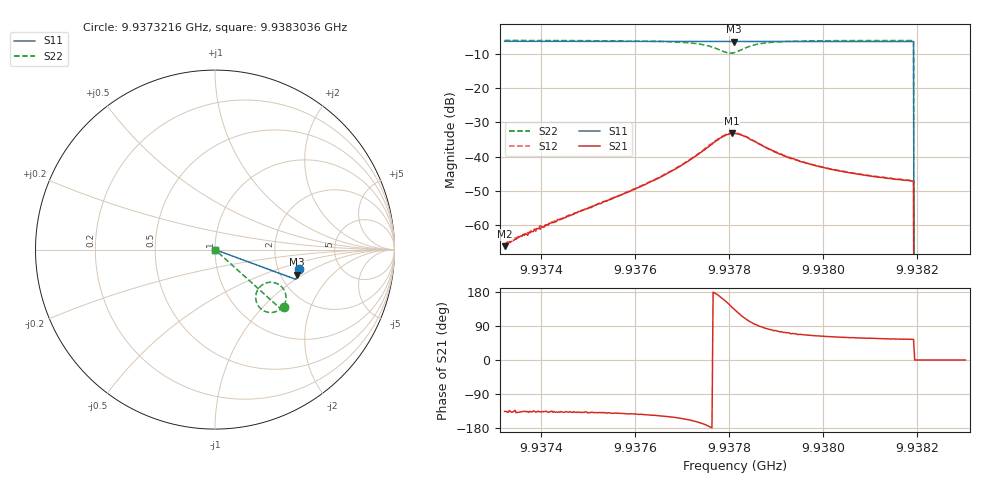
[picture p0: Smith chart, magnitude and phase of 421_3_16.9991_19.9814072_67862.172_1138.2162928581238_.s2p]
#  HZ  S  RI  R  50.00
! Rohde & Schwarz Vector Network Analyzer
! Rohde-Schwarz,ZNB20-2Port,1311601062101988,3.16
! Created: UTC 3/20/2024, 11:10:58 PM
! freq[Hz]  re:S11  im:S11  re:S21  im:S21  re:S12  im:S12  re:S22  im:S22
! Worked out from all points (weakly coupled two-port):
!   401 points, 9.9373216 GHz to 9.9383036 GHz, reference 50 ohm
!   highest |S21| = -33.18 dB at 9.9378052 GHz (marker M1); lowest = -66.1 dB at 9.9373216 GHz (marker M2)
!   lowest |S11| = -6.4 dB at 9.9378101 GHz (marker M3), VSWR 2.84, Z = 123 - j44.8 ohm
!   |S11| at or under -10 dB: 9.9381932 GHz to end of sweep
!   |S22| runs from - to -6.1 dB; largest |S21 - S12| = 0.00089
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9.93732156e9  0.4708 -0.11  -0.000355 -0.000347  -0.000387 -0.000368  0.3827 -0.3181
9.93735593e9  0.4699 -0.1122  -0.000511 -0.000475  -0.000499 -0.000488  0.38 -0.3207
9.93739521e9  0.4692 -0.1148  -0.000664 -0.000628  -0.000702 -0.000633  0.3768 -0.3237
9.93740503e9  0.469 -0.1155  -0.000677 -0.00064  -0.000728 -0.000664  0.3758 -0.3245
9.93748605e9  0.4674 -0.1208  -0.00121 -0.00109  -0.00123 -0.00111  0.3675 -0.331
9.93758425e9  0.465 -0.1274  -0.00239 -0.00186  -0.00248 -0.00186  0.3526 -0.3405
9.93765054e9  0.4634 -0.1319  -0.00412 -0.00269  -0.00426 -0.00263  0.3343 -0.3475
9.9377021e9  0.4618 -0.1354  -0.00705 -0.00327  -0.0072 -0.00321  0.3083 -0.3505
9.93774875e9  0.4601 -0.1386  -0.0126 -0.00209  -0.0131 -0.00185  0.2628 -0.3353
9.93778557e9  0.4584 -0.1401  -0.0185 0.00588  -0.0187 0.00632  0.2268 -0.265
9.93780521e9  0.4579 -0.1403  -0.0169 0.014  -0.0167 0.0146  0.252 -0.2061
9.93781012e9  0.4578 -0.1404  -0.0154 0.0155  -0.0151 0.0163  0.2654 -0.1954
9.93781258e9  0.4579 -0.1404  -0.0146 0.0163  -0.0144 0.0168  0.2728 -0.1911
9.93783467e9  0.4583 -0.1414  -0.00662 0.0186  -0.00599 0.0189  0.3388 -0.1866
9.93786659e9  0.4584 -0.1439  0.00052 0.0151  0.000701 0.0152  0.3854 -0.2262
9.9379206e9  0.4574 -0.1479  0.00313 0.00968  0.00336 0.00964  0.3954 -0.2742
9.93797707e9  0.4562 -0.1518  0.0033 0.00691  0.00342 0.00692  0.3901 -0.2982
9.93805563e9  0.4543 -0.1571  0.00298 0.00501  0.00311 0.00505  0.3813 -0.3161
9.93814156e9  0.4518 -0.1627  0.0027 0.00397  0.00282 0.00403  0.3732 -0.3278
9.93818821e9  0.4505 -0.1655  0.00257 0.0036  0.00268 0.00363  0.3694 -0.3325
9.93820048e9  0 0  0 0  0 0  0 0
9.9383036e9  0 0  0 0  0 0  0 0
